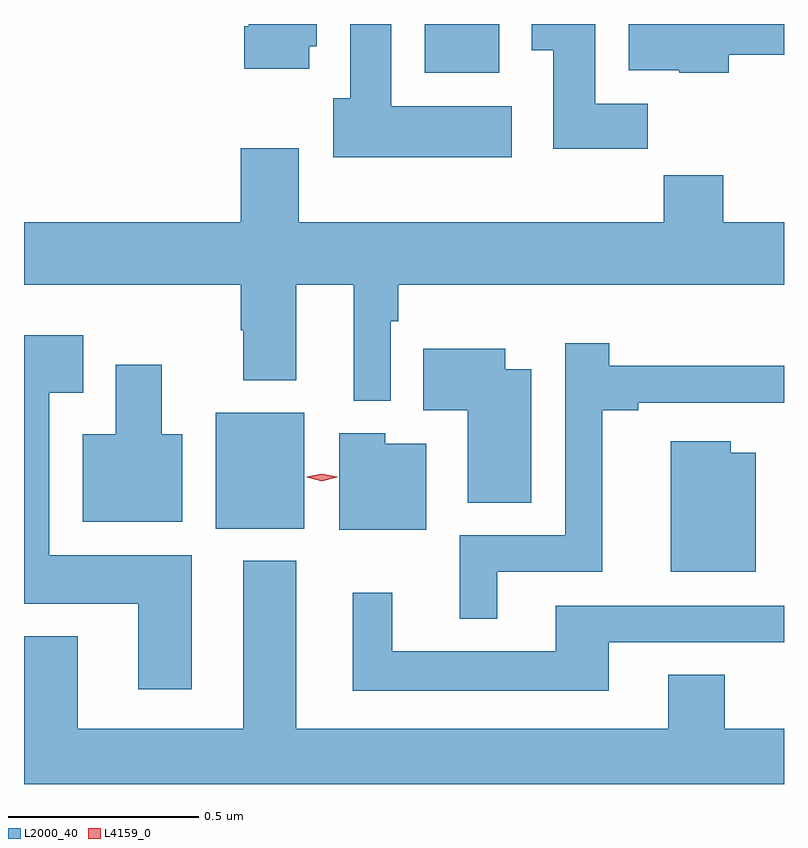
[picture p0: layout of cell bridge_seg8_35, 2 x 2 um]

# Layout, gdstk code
import gdstk
lib = gdstk.Library(unit=1e-6, precision=1e-09)
def R(c, l, rs):  # rectangles x0, y0, x1, y1
    for r in rs: c.add(gdstk.rectangle(r[:2], r[2:], *l))
def P(c, l, *ps):  # polygons
    for p in ps: c.add(gdstk.Polygon(p, *l))
L2000_40 = (2000, 40)
L4159_0 = (4159, 0)

bridge_seg8_35 = lib.new_cell('bridge_seg8_35')
R(bridge_seg8_35, L2000_40, [(1077.233,1127.846,1077.466,1128.151), (1077.782,1129.046,1077.979,1129.174)])
P(bridge_seg8_35, L2000_40, [(1078.37,1128.964),(1078.231,1128.964),(1078.231,1129.174),(1078.064,1129.174),(1078.064,1129.105),(1078.121,1129.105),(1078.121,1128.846),(1078.37,1128.846)],
  [(1078.583,1129.093),(1078.728,1129.093),(1078.728,1129.174),(1078.319,1129.174),(1078.319,1129.052),(1078.452,1129.052),(1078.452,1129.046),(1078.583,1129.046)],
  [(1077.478,1129.116),(1077.499,1129.116),(1077.499,1129.174),(1077.32,1129.174),(1077.32,1129.168),(1077.308,1129.168),(1077.308,1129.056),(1077.478,1129.056)],
  [(1078.012,1128.958),(1077.694,1128.958),(1077.694,1129.174),(1077.587,1129.174),(1077.587,1128.978),(1077.542,1128.978),(1077.542,1128.824),(1078.012,1128.824)],
  [(1077.693,1128.392),(1077.713,1128.392),(1077.713,1128.488),(1078.728,1128.488),(1078.728,1128.652),(1078.568,1128.652),(1078.568,1128.776),(1078.411,1128.776),(1078.411,1128.652),(1077.451,1128.652),(1077.451,1128.847),(1077.299,1128.847),(1077.299,1128.652),(1076.728,1128.652),(1076.728,1128.488),(1077.298,1128.488),(1077.298,1128.368),(1077.305,1128.368),(1077.305,1128.236),(1077.445,1128.236),(1077.445,1128.488),(1077.596,1128.488),(1077.596,1128.182),(1077.693,1128.182)],
  [(1077.169,1127.776),(1076.794,1127.776),(1076.794,1128.203),(1076.884,1128.203),(1076.884,1128.355),(1076.728,1128.355),(1076.728,1127.648),(1077.029,1127.648),(1077.029,1127.424),(1077.169,1127.424)],
  [(1077.973,1127.733),(1078.25,1127.733),(1078.25,1128.157),(1078.345,1128.157),(1078.345,1128.177),(1078.728,1128.177),(1078.728,1128.275),(1078.268,1128.275),(1078.268,1128.334),(1078.152,1128.334),(1078.152,1127.829),(1077.875,1127.829),(1077.875,1127.609),(1077.973,1127.609)],
  [(1078.063,1128.265),(1077.994,1128.265),(1077.994,1128.319),(1077.778,1128.319),(1077.778,1128.158),(1077.896,1128.158),(1077.896,1127.914),(1078.063,1127.914)],
  [(1077.145,1128.094),(1077.091,1128.094),(1077.091,1128.277),(1076.969,1128.277),(1076.969,1128.094),(1076.882,1128.094),(1076.882,1127.864),(1077.145,1127.864)],
  [(1077.787,1128.07),(1077.678,1128.07),(1077.678,1128.097),(1077.557,1128.097),(1077.557,1127.843),(1077.787,1127.843)],
  [(1078.654,1128.046),(1078.588,1128.046),(1078.588,1128.076),(1078.43,1128.076),(1078.43,1127.732),(1078.654,1127.732)],
  [(1078.728,1127.32),(1078.572,1127.32),(1078.572,1127.462),(1078.424,1127.462),(1078.424,1127.32),(1077.445,1127.32),(1077.445,1127.761),(1077.305,1127.761),(1077.305,1127.32),(1076.869,1127.32),(1076.869,1127.563),(1076.728,1127.563),(1076.728,1127.174),(1078.728,1127.174)],
  [(1078.267,1127.547),(1078.728,1127.547),(1078.728,1127.643),(1078.127,1127.643),(1078.127,1127.524),(1077.697,1127.524),(1077.697,1127.677),(1077.593,1127.677),(1077.593,1127.42),(1078.267,1127.42)])
P(bridge_seg8_35, L4159_0, [(1077.512,1127.971),(1077.472,1127.981),(1077.472,1127.981),(1077.472,1127.982),(1077.512,1127.991),(1077.552,1127.982),(1077.552,1127.981),(1077.552,1127.981)])

lib.write_gds('bridge_seg8_35.gds')
